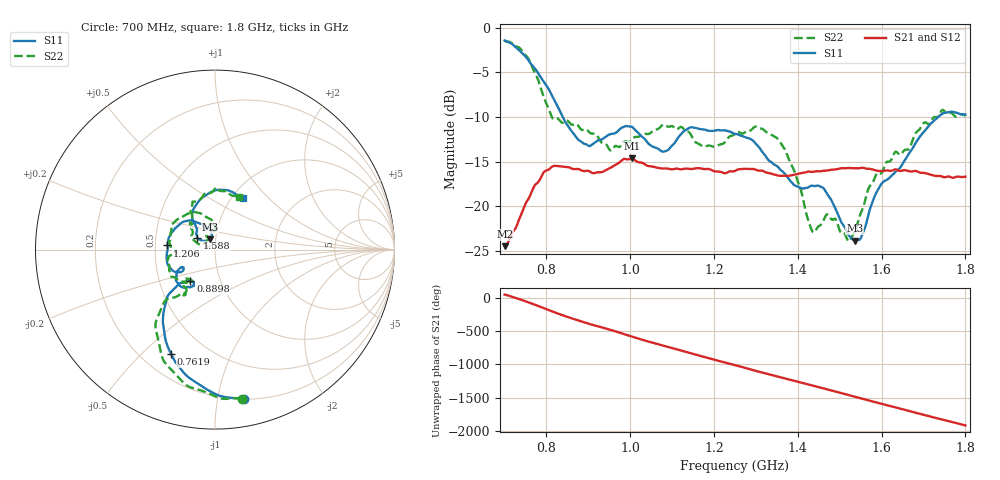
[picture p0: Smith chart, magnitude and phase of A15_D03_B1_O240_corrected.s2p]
! Created with skrf 1.9.0 (http://scikit-rf.org).
# Hz S RI R 50.0
!freq ReS11 ImS11 ReS21 ImS21 ReS12 ImS12 ReS22 ImS22
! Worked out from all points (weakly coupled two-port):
!   1601 points, 700 MHz to 1.8 GHz, reference 50 ohm
!   highest |S21| = -14.66 dB at 1.005 GHz (marker M1); lowest = -24.5 dB at 700.7 MHz (marker M2)
!   lowest |S11| = -23.9 dB at 1.536 GHz (marker M3), VSWR 1.14, Z = 47 + j5.43 ohm
!   |S11| at or under -10 dB: 838.7 MHz to 1.735 GHz (896.5 MHz wide, 69.7 % of centre)
!   |S22| runs from -23.9 to -1.5 dB; largest |S21 - S12| = 0.0035
!   S11 on the Smith chart (normalised r, x): 700 MHz: 0.20, -1.19; 761.9 MHz: 0.32, -0.62; 889.8 MHz: 0.72, -0.27; 1.206 GHz: 0.58, +0.03; 1.588 GHz: 0.81, +0.11; 1.8 GHz: 1.12, +0.72
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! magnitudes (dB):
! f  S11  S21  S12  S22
! 700 MHz  -1.4  -24.5  -24.3  -1.5
! 700.7 MHz  -1.5  -24.5  -24.2  -1.5
! 761.9 MHz  -4.0  -18.7  -18.7  -4.0
! 814.8 MHz  -7.8  -15.5  -15.6  -10.2
! 883.6 MHz  -12.8  -16.0  -15.9  -11.4
! 889.8 MHz  -13.0  -16.1  -16.0  -11.4
! 953 MHz  -11.9  -15.7  -15.7  -13.8
! 1.005 GHz  -11.1  -14.7  -14.8  -12.5
! 1.067 GHz  -13.6  -15.7  -15.7  -11.3
! 1.143 GHz  -11.2  -15.8  -15.8  -11.8
! 1.206 GHz  -11.5  -16.1  -16.2  -13.3
! 1.25 GHz  -11.9  -16.0  -16.0  -11.9
! 1.355 GHz  -15.7  -16.6  -16.5  -12.6
! 1.393 GHz  -17.7  -16.5  -16.5  -16.2
! 1.434 GHz  -17.7  -16.2  -16.1  -22.7
! 1.471 GHz  -18.7  -16.0  -16.0  -20.9
! 1.521 GHz  -23.2  -15.7  -15.7  -23.9
! 1.536 GHz  -23.9  -15.8  -15.8  -22.8
! 1.588 GHz  -18.5  -16.0  -16.0  -16.4
! 1.617 GHz  -16.9  -16.0  -16.0  -15.0
! 1.737 GHz  -9.9  -16.6  -16.7  -9.8
! 1.8 GHz  -9.7  -16.7  -16.7  -9.9
